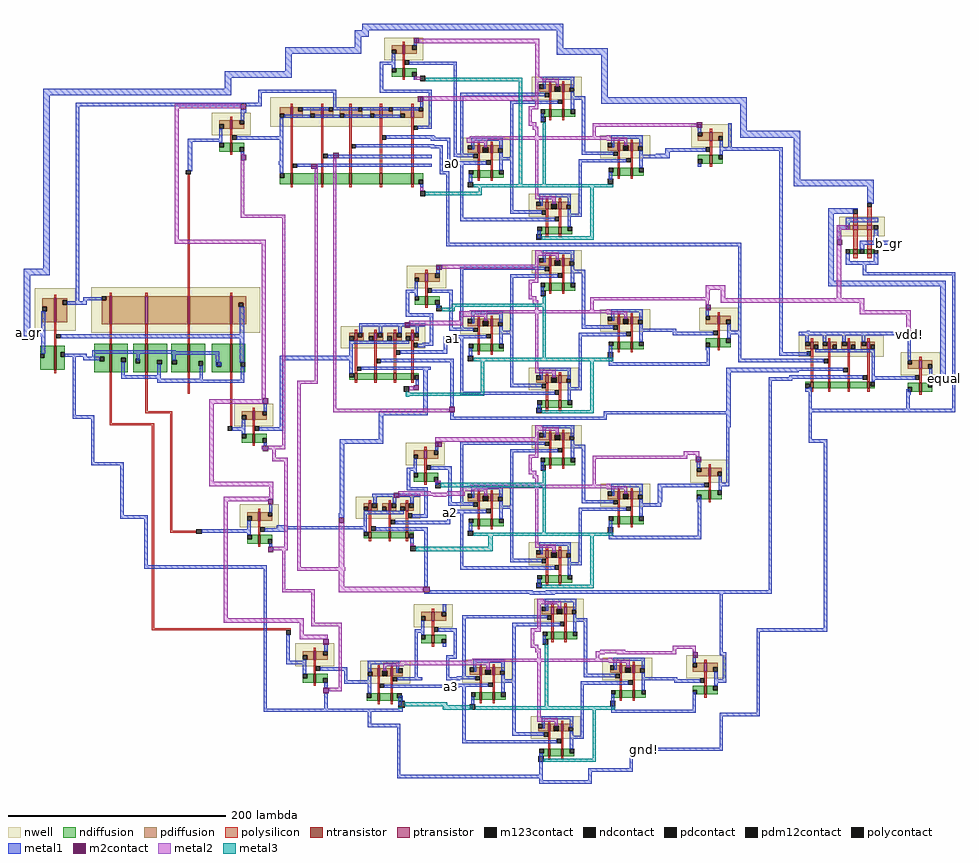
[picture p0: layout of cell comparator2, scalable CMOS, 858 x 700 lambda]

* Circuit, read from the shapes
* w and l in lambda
.subckt comparator2 a0 a1 a2 a3 a_gr b0 b1 b2 b3 b_gr equal gnd! vdd!
M1 gnd! n1 a_gr VSUBS nfet w=22 l=2
M2 n1 4_or_0/in4 gnd! VSUBS nfet w=26 l=2
M3 n1 4_or_0/in3 gnd! VSUBS nfet w=26 l=2
M4 n1 4_or_0/in2 gnd! VSUBS nfet w=26 l=2
M5 n1 4_or_0/in1 gnd! VSUBS nfet w=26 l=2
M6 gnd! not_9/in 4_or_0/in2 VSUBS nfet w=8 l=2
M7 gnd! not_10/in 4_or_0/in1 VSUBS nfet w=8 l=2
M8 gnd! not_11/in 4_or_0/in3 VSUBS nfet w=8 l=2
M9 n2 3nand_0/in3 not_9/in VSUBS nfet w=10 l=2
M10 gnd! not_12/in 4_or_0/in4 VSUBS nfet w=8 l=2
M11 n3 4nand_0/in3 n2 VSUBS nfet w=10 l=2
M12 n4 4nand_1/in2 n3 VSUBS nfet w=10 l=2
M13 n5 3nand_0/in3 not_10/in VSUBS nfet w=6 l=2
M14 n6 3nand_0/in3 not_11/in VSUBS nfet w=6 l=2
M15 n7 4nand_0/in3 n5 VSUBS nfet w=6 l=2
M16 n8 a3 not_12/in VSUBS nfet w=7 l=2
M17 n9 a0 n4 VSUBS nfet w=10 l=2
M18 n10 a2 n6 VSUBS nfet w=6 l=2
M19 gnd! 2nand_0/in1 n8 VSUBS nfet w=7 l=2
M20 n11 a1 n7 VSUBS nfet w=6 l=2
M21 gnd! b0 5nand_0/in1 VSUBS nfet w=8 l=2
M22 gnd! 3nand_0/in1 n10 VSUBS nfet w=6 l=2
M23 gnd! 4nand_0/in1 n11 VSUBS nfet w=6 l=2
M24 gnd! 5nand_0/in1 n9 VSUBS nfet w=10 l=2
M25 gnd! b2 3nand_0/in1 VSUBS nfet w=8 l=2
M26 gnd! b1 4nand_0/in1 VSUBS nfet w=8 l=2
M27 gnd! b3 2nand_0/in1 VSUBS nfet w=8 l=2
M28 n12 b2 gnd! VSUBS nfet w=7 l=2
M29 n13 b1 gnd! VSUBS nfet w=7 l=2
M30 n14 b0 gnd! VSUBS nfet w=7 l=2
M31 n15 b3 gnd! VSUBS nfet w=7 l=2
M32 xor_2/2nand_2/in1 a2 n12 VSUBS nfet w=7 l=2
M33 xor_1/2nand_2/in1 a1 n13 VSUBS nfet w=7 l=2
M34 xor_0/2nand_2/in1 a0 n14 VSUBS nfet w=7 l=2
M35 xor_3/2nand_2/in1 a3 n15 VSUBS nfet w=7 l=2
M36 n16 xor_2/2nand_2/in1 gnd! VSUBS nfet w=7 l=2
M37 n17 xor_1/2nand_2/in1 gnd! VSUBS nfet w=7 l=2
M38 n18 xor_0/2nand_2/in1 gnd! VSUBS nfet w=7 l=2
M39 n19 xor_3/2nand_2/in1 gnd! VSUBS nfet w=7 l=2
M40 n20 b2 gnd! VSUBS nfet w=7 l=2
M41 n21 b1 gnd! VSUBS nfet w=7 l=2
M42 n22 b0 gnd! VSUBS nfet w=7 l=2
M43 n23 b3 gnd! VSUBS nfet w=7 l=2
M44 xor_2/2nand_3/in2 a2 n16 VSUBS nfet w=7 l=2
M45 xor_1/2nand_3/in2 a1 n17 VSUBS nfet w=7 l=2
M46 xor_0/2nand_3/in2 a0 n18 VSUBS nfet w=7 l=2
M47 xor_3/2nand_3/in2 a3 n19 VSUBS nfet w=7 l=2
M48 xor_2/2nand_3/in1 xor_2/2nand_2/in1 n20 VSUBS nfet w=7 l=2
M49 xor_1/2nand_3/in1 xor_1/2nand_2/in1 n21 VSUBS nfet w=7 l=2
M50 xor_0/2nand_3/in1 xor_0/2nand_2/in1 n22 VSUBS nfet w=7 l=2
M51 xor_3/2nand_3/in1 xor_3/2nand_2/in1 n23 VSUBS nfet w=7 l=2
M52 n24 xor_2/2nand_3/in1 gnd! VSUBS nfet w=7 l=2
M53 n25 xor_1/2nand_3/in1 gnd! VSUBS nfet w=7 l=2
M54 n26 xor_0/2nand_3/in1 gnd! VSUBS nfet w=7 l=2
M55 n27 xor_3/2nand_3/in1 gnd! VSUBS nfet w=7 l=2
M56 not_2/in xor_2/2nand_3/in2 n24 VSUBS nfet w=7 l=2
M57 not_1/in xor_1/2nand_3/in2 n25 VSUBS nfet w=7 l=2
M58 not_0/in xor_0/2nand_3/in2 n26 VSUBS nfet w=7 l=2
M59 not_3/in xor_3/2nand_3/in2 n27 VSUBS nfet w=7 l=2
M60 3nand_0/in3 not_3/in gnd! VSUBS nfet w=8 l=2
M61 4nand_0/in3 not_2/in gnd! VSUBS nfet w=8 l=2
M62 4nand_1/in1 not_0/in gnd! VSUBS nfet w=8 l=2
M63 4nand_1/in2 not_1/in gnd! VSUBS nfet w=8 l=2
M64 n28 4nand_1/in1 gnd! VSUBS nfet w=6 l=2
M65 n29 4nand_1/in2 n28 VSUBS nfet w=6 l=2
M66 n30 4nand_0/in3 n29 VSUBS nfet w=6 l=2
M67 b_gr equal gnd! VSUBS nfet w=4 l=4
M68 not_6/in 3nand_0/in3 n30 VSUBS nfet w=6 l=2
M69 gnd! a_gr b_gr VSUBS nfet w=4 l=4
M70 equal not_6/in gnd! VSUBS nfet w=8 l=2
M71 vdd! n1 a_gr n31 pfet w=22 l=2
M72 n32 4_or_0/in4 vdd! n33 pfet w=26 l=2
M73 n34 4_or_0/in3 n32 n33 pfet w=26 l=2
M74 n35 4_or_0/in2 n34 n33 pfet w=26 l=2
M75 n1 4_or_0/in1 n35 n33 pfet w=26 l=2
M76 vdd! not_9/in 4_or_0/in2 n36 pfet w=8 l=2
M77 vdd! not_10/in 4_or_0/in1 n37 pfet w=8 l=2
M78 vdd! not_11/in 4_or_0/in3 n38 pfet w=8 l=2
M79 vdd! 3nand_0/in3 not_9/in n39 pfet w=10 l=2
M80 vdd! not_12/in 4_or_0/in4 n40 pfet w=8 l=2
M81 vdd! 4nand_0/in3 not_9/in n39 pfet w=10 l=2
M82 vdd! 4nand_1/in2 not_9/in n39 pfet w=10 l=2
M83 vdd! 3nand_0/in3 not_10/in n41 pfet w=7 l=2
M84 vdd! 3nand_0/in3 not_11/in n42 pfet w=7 l=2
M85 vdd! 4nand_0/in3 not_10/in n41 pfet w=7 l=2
M86 vdd! a3 not_12/in n43 pfet w=7 l=2
M87 vdd! a0 not_9/in n39 pfet w=10 l=2
M88 vdd! a2 not_11/in n42 pfet w=7 l=2
M89 not_12/in 2nand_0/in1 vdd! n43 pfet w=7 l=2
M90 vdd! a1 not_10/in n41 pfet w=7 l=2
M91 vdd! b0 5nand_0/in1 n44 pfet w=8 l=2
M92 vdd! 3nand_0/in1 not_11/in n42 pfet w=7 l=2
M93 vdd! 4nand_0/in1 not_10/in n41 pfet w=7 l=2
M94 vdd! 5nand_0/in1 not_9/in n39 pfet w=10 l=2
M95 vdd! b2 3nand_0/in1 n45 pfet w=8 l=2
M96 vdd! b1 4nand_0/in1 n46 pfet w=8 l=2
M97 vdd! b3 2nand_0/in1 n47 pfet w=8 l=2
M98 vdd! b2 xor_2/2nand_2/in1 n48 pfet w=7 l=2
M99 vdd! b1 xor_1/2nand_2/in1 n49 pfet w=7 l=2
M100 vdd! b0 xor_0/2nand_2/in1 n50 pfet w=7 l=2
M101 vdd! b3 xor_3/2nand_2/in1 n51 pfet w=7 l=2
M102 xor_2/2nand_2/in1 a2 vdd! n48 pfet w=7 l=2
M103 xor_1/2nand_2/in1 a1 vdd! n49 pfet w=7 l=2
M104 xor_0/2nand_2/in1 a0 vdd! n50 pfet w=7 l=2
M105 xor_3/2nand_2/in1 a3 vdd! n51 pfet w=7 l=2
M106 vdd! xor_2/2nand_2/in1 xor_2/2nand_3/in2 n52 pfet w=7 l=2
M107 vdd! xor_1/2nand_2/in1 xor_1/2nand_3/in2 n53 pfet w=7 l=2
M108 vdd! xor_0/2nand_2/in1 xor_0/2nand_3/in2 n54 pfet w=7 l=2
M109 vdd! xor_3/2nand_2/in1 xor_3/2nand_3/in2 n55 pfet w=7 l=2
M110 vdd! b2 xor_2/2nand_3/in1 n56 pfet w=7 l=2
M111 vdd! b1 xor_1/2nand_3/in1 n57 pfet w=7 l=2
M112 vdd! b0 xor_0/2nand_3/in1 n58 pfet w=7 l=2
M113 vdd! b3 xor_3/2nand_3/in1 n59 pfet w=7 l=2
M114 xor_2/2nand_3/in2 a2 vdd! n52 pfet w=7 l=2
M115 xor_1/2nand_3/in2 a1 vdd! n53 pfet w=7 l=2
M116 xor_0/2nand_3/in2 a0 vdd! n54 pfet w=7 l=2
M117 xor_3/2nand_3/in2 a3 vdd! n55 pfet w=7 l=2
M118 xor_2/2nand_3/in1 xor_2/2nand_2/in1 vdd! n56 pfet w=7 l=2
M119 xor_1/2nand_3/in1 xor_1/2nand_2/in1 vdd! n57 pfet w=7 l=2
M120 xor_0/2nand_3/in1 xor_0/2nand_2/in1 vdd! n58 pfet w=7 l=2
M121 xor_3/2nand_3/in1 xor_3/2nand_2/in1 vdd! n59 pfet w=7 l=2
M122 vdd! xor_2/2nand_3/in1 not_2/in n60 pfet w=7 l=2
M123 vdd! xor_1/2nand_3/in1 not_1/in n61 pfet w=7 l=2
M124 vdd! xor_0/2nand_3/in1 not_0/in n62 pfet w=7 l=2
M125 vdd! xor_3/2nand_3/in1 not_3/in n63 pfet w=7 l=2
M126 not_2/in xor_2/2nand_3/in2 vdd! n60 pfet w=7 l=2
M127 not_1/in xor_1/2nand_3/in2 vdd! n61 pfet w=7 l=2
M128 not_0/in xor_0/2nand_3/in2 vdd! n62 pfet w=7 l=2
M129 not_3/in xor_3/2nand_3/in2 vdd! n63 pfet w=7 l=2
M130 3nand_0/in3 not_3/in vdd! n64 pfet w=8 l=2
M131 4nand_0/in3 not_2/in vdd! n65 pfet w=8 l=2
M132 4nand_1/in1 not_0/in vdd! n66 pfet w=8 l=2
M133 4nand_1/in2 not_1/in vdd! n67 pfet w=8 l=2
M134 not_6/in 4nand_1/in1 vdd! n68 pfet w=7 l=2
M135 not_6/in 4nand_1/in2 vdd! n68 pfet w=7 l=2
M136 not_6/in 4nand_0/in3 vdd! n68 pfet w=7 l=2
M137 n69 equal vdd! n70 pfet w=4 l=4
M138 not_6/in 3nand_0/in3 vdd! n68 pfet w=7 l=2
M139 b_gr a_gr n69 n70 pfet w=4 l=4
M140 equal not_6/in vdd! n71 pfet w=8 l=2
.ends

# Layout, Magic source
magic
tech scmos
<< nwell >>
rect 120 -314 123 -293
<< polysilicon >>
rect -370 35 -368 150
rect 243 112 247 114
rect 256 112 260 120
rect -442 -79 -440 -34
rect -409 -68 -407 -32
rect -370 -52 -368 -35
rect -409 -70 -384 -68
rect -442 -81 -401 -79
rect -403 -268 -401 -81
rect -386 -178 -384 -70
rect -331 -82 -329 -34
rect -386 -180 -362 -178
rect -403 -270 -275 -268
<< polycontact >>
rect -372 150 -367 154
rect 256 120 260 124
rect 243 114 247 118
rect -333 -86 -329 -82
rect -362 -181 -357 -177
rect -279 -274 -275 -270
<< metal1 >>
rect -209 283 -24 289
rect -216 277 -203 283
rect -216 267 -210 277
rect -280 261 -210 267
rect -30 266 -24 283
rect -280 245 -274 261
rect -30 260 17 266
rect -336 239 -274 245
rect -193 251 -180 254
rect -153 251 -122 254
rect -336 229 -330 239
rect -503 223 -330 229
rect -193 228 -190 251
rect -305 225 -233 228
rect -193 225 -145 228
rect -503 63 -497 223
rect -305 216 -302 225
rect -521 57 -497 63
rect -473 215 -302 216
rect -473 213 -321 215
rect -521 7 -515 57
rect -473 30 -470 213
rect -316 213 -302 215
rect -236 211 -233 225
rect -321 207 -316 210
rect -148 192 -145 225
rect -146 185 -143 186
rect -370 180 -338 183
rect -312 182 -284 185
rect -146 184 -142 185
rect -146 181 -128 184
rect -370 154 -366 180
rect -145 177 -143 178
rect -146 174 -135 177
rect -286 159 -282 162
rect -367 153 -366 154
rect -138 153 -135 174
rect -131 162 -128 181
rect -125 166 -122 251
rect 11 221 17 260
rect 11 215 145 221
rect 128 175 131 197
rect 139 190 145 215
rect 139 184 194 190
rect 70 171 96 174
rect 120 172 178 175
rect 70 169 74 171
rect 61 165 74 169
rect -131 159 -119 162
rect -138 150 -129 153
rect -132 87 -129 150
rect -132 84 140 87
rect -169 41 -158 44
rect -135 41 -126 44
rect -169 22 -166 41
rect -169 19 -144 22
rect -521 1 -504 7
rect -147 -5 -144 19
rect -129 9 -126 41
rect -129 6 -119 9
rect 66 5 80 8
rect 137 6 140 84
rect 77 2 104 5
rect 127 3 140 6
rect -125 1 -122 2
rect -154 -8 -144 -5
rect -134 -2 -122 1
rect -134 -12 -131 -2
rect -458 -13 -381 -12
rect -458 -15 -341 -13
rect -154 -15 -131 -12
rect -476 -72 -473 -15
rect -458 -21 -455 -15
rect -417 -21 -414 -15
rect -384 -16 -341 -15
rect -384 -21 -381 -16
rect -344 -23 -341 -16
rect -285 -21 -218 -17
rect -344 -26 -339 -23
rect -476 -75 -456 -72
rect -459 -115 -456 -75
rect -285 -83 -282 -21
rect -161 -23 -125 -20
rect -154 -30 -146 -27
rect -160 -44 -157 -42
rect -153 -68 -149 -30
rect -128 -64 -125 -23
rect 18 -23 21 -10
rect 108 -23 111 -9
rect 137 -20 140 3
rect 175 -14 178 172
rect 188 145 194 184
rect 188 139 262 145
rect 256 124 262 139
rect 260 123 262 124
rect 220 118 247 119
rect 220 114 243 118
rect 220 52 225 114
rect 228 99 238 103
rect 228 90 232 99
rect 266 85 278 89
rect 252 60 255 70
rect 252 57 337 60
rect 220 47 328 52
rect 200 2 203 6
rect 254 2 292 5
rect 293 -14 296 1
rect 175 -17 202 -14
rect 137 -23 195 -20
rect 18 -26 111 -23
rect 126 -32 193 -28
rect -329 -86 -319 -83
rect -292 -86 -282 -83
rect -194 -72 -149 -68
rect 126 -68 130 -32
rect 323 -35 328 47
rect 184 -37 199 -35
rect -194 -94 -190 -72
rect -128 -73 -125 -69
rect 13 -71 130 -68
rect 13 -73 16 -71
rect -128 -76 16 -73
rect -230 -98 -190 -94
rect 126 -83 130 -71
rect 165 -38 199 -37
rect 165 -40 187 -38
rect 262 -39 289 -36
rect 315 -40 329 -35
rect -459 -118 -429 -115
rect -432 -164 -429 -118
rect -230 -162 -226 -98
rect -168 -123 -159 -120
rect -136 -122 -127 -119
rect -168 -138 -165 -123
rect -168 -141 -149 -138
rect -432 -167 -407 -164
rect -410 -210 -407 -167
rect -231 -166 -226 -162
rect -152 -163 -149 -141
rect -130 -152 -127 -122
rect 126 -134 129 -83
rect 63 -138 95 -135
rect 119 -137 129 -134
rect 63 -152 67 -138
rect -130 -155 -119 -152
rect 63 -156 66 -152
rect -159 -166 -149 -163
rect -131 -162 -120 -159
rect -131 -169 -128 -162
rect -158 -172 -128 -169
rect -288 -174 -278 -173
rect -288 -177 -205 -174
rect -357 -180 -315 -177
rect -288 -179 -278 -177
rect -158 -178 -149 -175
rect -165 -192 -162 -188
rect -410 -213 -297 -210
rect -300 -342 -297 -213
rect -152 -230 -149 -178
rect 18 -183 21 -171
rect 100 -183 103 -147
rect 18 -186 103 -183
rect 165 -233 168 -40
rect 202 -66 205 -46
rect 292 -66 295 -48
rect 334 -66 337 57
rect 202 -69 337 -66
rect 202 -94 205 -69
rect 202 -97 219 -94
rect -147 -234 -52 -233
rect -40 -234 168 -233
rect -147 -235 168 -234
rect -152 -236 168 -235
rect -55 -237 -32 -236
rect -161 -272 -153 -269
rect -129 -271 -122 -268
rect -279 -298 -276 -274
rect -279 -301 -261 -298
rect -235 -307 -223 -304
rect -226 -316 -223 -307
rect -161 -313 -158 -272
rect -125 -293 -122 -271
rect 120 -290 123 -236
rect 216 -268 219 -97
rect 154 -271 219 -268
rect -132 -296 -122 -293
rect 120 -293 126 -290
rect -132 -313 -129 -296
rect -122 -313 -120 -312
rect -168 -316 -154 -313
rect -132 -316 -119 -313
rect 67 -315 81 -313
rect 123 -315 126 -293
rect 67 -316 91 -315
rect -226 -319 -214 -316
rect 78 -318 91 -316
rect 115 -318 126 -315
rect -123 -320 -121 -319
rect -244 -323 -241 -321
rect -170 -323 -120 -320
rect -244 -342 -241 -328
rect -175 -335 -172 -330
rect -176 -342 -172 -341
rect -300 -345 -172 -342
rect 20 -343 23 -331
rect 95 -343 98 -327
rect -204 -356 -201 -345
rect 20 -346 98 -343
rect 154 -346 157 -271
rect 120 -349 157 -346
rect -204 -359 -174 -356
rect -177 -403 -174 -359
rect 120 -378 123 -349
rect 37 -381 123 -378
rect -46 -403 -43 -386
rect 37 -397 40 -381
rect -177 -406 -43 -403
rect -46 -408 -43 -406
rect -1 -400 40 -397
rect -1 -408 2 -400
rect -46 -411 2 -408
<< m2contact >>
rect -162 271 -157 276
rect -321 210 -316 215
rect -158 217 -153 222
rect -321 163 -316 168
rect -236 165 -231 170
rect -256 155 -251 160
rect 99 193 104 198
rect -141 62 -136 67
rect -170 9 -165 14
rect 107 25 112 30
rect -301 -61 -296 -56
rect -162 -49 -157 -44
rect 228 85 233 90
rect 292 1 297 6
rect -129 -69 -124 -64
rect -301 -105 -296 -100
rect -296 -154 -291 -149
rect -142 -101 -136 -96
rect 98 -115 103 -110
rect -180 -148 -175 -143
rect -231 -171 -226 -166
rect -296 -198 -291 -193
rect -153 -235 -147 -230
rect -245 -283 -240 -278
rect 95 -295 100 -290
rect -245 -328 -240 -323
<< metal2 >>
rect -157 271 -46 275
rect -161 237 -156 240
rect -50 239 -46 271
rect -153 218 -49 222
rect -382 211 -321 215
rect -382 90 -378 211
rect 3 194 99 197
rect 3 182 6 194
rect -321 168 -318 169
rect -321 113 -318 163
rect -251 155 -250 160
rect -321 110 -280 113
rect -382 86 -298 90
rect -302 -56 -298 86
rect -302 -57 -301 -56
rect -350 -61 -301 -57
rect -350 -133 -346 -61
rect -283 -100 -280 110
rect -253 -40 -250 155
rect -302 -103 -301 -100
rect -296 -103 -280 -100
rect -269 -43 -250 -40
rect -292 -111 -289 -103
rect -292 -114 -278 -111
rect -350 -137 -291 -133
rect -295 -147 -291 -137
rect -337 -149 -291 -147
rect -337 -151 -296 -149
rect -337 -259 -333 -151
rect -281 -193 -278 -114
rect -291 -196 -278 -193
rect -283 -232 -280 -196
rect -269 -212 -266 -43
rect -236 -66 -233 165
rect -156 135 -153 138
rect 228 99 240 103
rect 228 90 232 99
rect -136 63 -49 67
rect 107 44 125 48
rect 107 37 111 44
rect 1 34 111 37
rect 121 36 125 44
rect 228 36 232 85
rect -120 20 -105 24
rect 1 22 4 34
rect 107 30 110 34
rect 121 32 253 36
rect 249 25 253 32
rect 249 21 296 25
rect -120 19 -112 20
rect -120 15 -116 19
rect -166 14 -116 15
rect -165 11 -116 14
rect 292 6 296 21
rect -166 -49 -162 -45
rect -236 -69 -129 -66
rect -142 -96 -49 -92
rect 87 -108 101 -105
rect 87 -109 90 -108
rect 3 -112 90 -109
rect 98 -110 101 -108
rect -142 -134 -137 -132
rect -116 -138 -110 -137
rect -119 -142 -110 -138
rect 3 -139 6 -112
rect -176 -143 -146 -142
rect -131 -143 -115 -142
rect -175 -146 -115 -143
rect -144 -147 -132 -146
rect -231 -212 -226 -171
rect -165 -192 -162 -190
rect -269 -215 -225 -212
rect -231 -230 -226 -215
rect -283 -235 -253 -232
rect -231 -235 -153 -230
rect -337 -263 -263 -259
rect -267 -274 -263 -263
rect -256 -263 -253 -235
rect -256 -266 -228 -263
rect -267 -278 -241 -274
rect -231 -323 -228 -266
rect 77 -287 98 -284
rect 10 -289 33 -288
rect 77 -289 80 -287
rect 6 -291 80 -289
rect 6 -292 14 -291
rect 25 -292 80 -291
rect 95 -290 98 -287
rect -171 -302 -110 -298
rect 6 -299 9 -292
rect -240 -326 -228 -323
rect -176 -342 -173 -341
<< m123contact >>
rect -156 236 -151 241
rect -156 130 -151 135
rect -141 24 -136 29
rect -171 -50 -166 -45
rect -142 -139 -137 -134
rect -165 -197 -160 -192
rect -176 -341 -170 -335
<< metal3 >>
rect -151 236 -62 239
rect -102 134 -99 141
rect -65 138 -62 236
rect -151 131 -99 134
rect -127 28 -40 31
rect -127 27 -124 28
rect -136 24 -124 27
rect -169 -51 -166 -50
rect -100 -51 -97 -19
rect -169 -54 -97 -51
rect -169 -55 -166 -54
rect -137 -138 -40 -134
rect -93 -193 -89 -180
rect -160 -197 -89 -193
rect -170 -339 -131 -336
rect -170 -340 -108 -339
rect -176 -342 -173 -341
rect -135 -343 -108 -340
use not  not_12
transform -1 0 -249 0 1 -305
box -14 -16 22 23
use not  not_8
transform -1 0 -140 0 1 -269
box -14 -16 22 23
use 2nand  2nand_0
transform -1 0 -204 0 1 -336
box -39 -3 10 38
use xor  xor_3
transform 1 0 -52 0 1 -286
box -69 -105 120 45
use not  not_3
transform 1 0 103 0 1 -316
box -14 -16 22 23
use not  not_7
transform -1 0 -147 0 1 -120
box -14 -16 22 23
use 3nand  3nand_0
transform -1 0 -181 0 1 -173
box -25 -15 34 29
use xor  xor_2
transform 1 0 -54 0 1 -126
box -69 -105 120 45
use not  not_2
transform 1 0 107 0 1 -136
box -14 -16 22 23
use not  not_5
transform -1 0 -146 0 1 43
box -14 -16 22 23
use 4nand  4nand_0
transform -1 0 -149 0 1 42
box 2 -84 80 -29
use xor  xor_1
transform 1 0 -54 0 1 35
box -69 -105 120 45
use not  not_1
transform 1 0 115 0 1 4
box -14 -16 22 23
use 5nand  5nand_0
transform -1 0 -193 0 1 184
box -48 -46 101 37
use xor  xor_0
transform 1 0 -54 0 1 195
box -69 -105 120 45
use not  not_0
transform 1 0 108 0 1 173
box -14 -16 22 23
use not  not_4
transform -1 0 -167 0 1 253
box -14 -16 22 23
use nand2  nand2_0
transform 1 0 248 0 1 92
box -18 -25 24 20
use not  not_11
transform -1 0 -300 0 1 -177
box -14 -16 22 23
use not  not_10
transform -1 0 -305 0 1 -84
box -14 -16 22 23
use not  not_9
transform -1 0 -326 0 1 184
box -14 -16 22 23
use not  not_6
transform 1 0 301 0 1 -37
box -14 -16 22 23
use 4nand  4nand_1
transform 1 0 191 0 1 34
box 2 -84 80 -29
use 4_or  4_or_0
transform -1 0 -377 0 1 -1
box -74 -41 134 47
<< labels >>
rlabel metal1 -517 4 -516 4 3 a_gr
rlabel metal1 327 -38 328 -38 7 equal
rlabel metal1 -127 -322 -127 -322 1 a3
rlabel metal1 -126 -315 -126 -315 1 b3
rlabel metal1 -128 -161 -128 -161 1 a2
rlabel metal1 -125 -1 -125 -1 1 a1
rlabel metal1 -127 7 -127 7 1 b1
rlabel metal1 -126 160 -126 160 1 a0
rlabel metal1 -123 168 -123 168 1 b0
rlabel metal1 51 -380 51 -380 1 gnd!
rlabel m2contact 295 3 295 3 1 vdd!
rlabel metal1 276 86 276 86 1 b_gr
rlabel metal1 -127 -154 -127 -154 1 b2
<< end >>

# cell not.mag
magic
tech scmos
<< nwell >>
rect -14 2 22 23
<< ntransistor >>
rect 3 -13 5 -5
<< ptransistor >>
rect 3 8 5 16
<< ndiffusion >>
rect -8 -9 3 -5
rect -4 -13 3 -9
rect 5 -9 11 -5
rect 5 -13 15 -9
<< pdiffusion >>
rect -4 12 3 16
rect -8 8 3 12
rect 5 12 15 16
rect 5 8 11 12
<< ndcontact >>
rect -8 -13 -4 -9
rect 11 -9 15 -5
<< pdcontact >>
rect -8 12 -4 16
rect 11 8 15 12
<< polysilicon >>
rect 3 16 5 19
rect 3 -5 5 8
rect 3 -16 5 -13
<< polycontact >>
rect -1 -2 3 2
<< metal1 >>
rect -8 16 -5 23
rect -14 -2 -1 1
rect 12 -5 15 8
rect -8 -16 -5 -13
<< labels >>
rlabel metal1 -13 -1 -13 -1 3 in
rlabel metal1 14 0 14 0 1 out
rlabel metal1 -6 21 -6 21 5 vdd!
rlabel metal1 -7 -15 -7 -15 1 gnd!
<< end >>

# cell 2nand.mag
magic
tech scmos
<< nwell >>
rect -39 17 7 38
<< ntransistor >>
rect -23 1 -21 8
rect -11 1 -9 8
<< ptransistor >>
rect -23 24 -21 31
rect -11 24 -9 31
<< ndiffusion >>
rect -27 4 -23 8
rect -31 1 -23 4
rect -21 1 -11 8
rect -9 4 -3 8
rect -9 1 1 4
<< pdiffusion >>
rect -28 27 -23 31
rect -32 24 -23 27
rect -21 29 -11 31
rect -21 24 -18 29
rect -13 24 -11 29
rect -9 28 0 31
rect -9 24 -4 28
<< ndcontact >>
rect -31 4 -27 8
rect -3 4 1 8
<< pdcontact >>
rect -32 27 -28 31
rect -18 24 -13 29
rect -4 24 0 28
<< polysilicon >>
rect -23 31 -21 34
rect -11 31 -9 34
rect -23 8 -21 24
rect -11 8 -9 24
rect -23 -2 -21 1
rect -11 -2 -9 1
<< polycontact >>
rect -27 19 -23 23
rect -15 13 -11 17
<< metal1 >>
rect -29 35 0 38
rect -29 31 -26 35
rect -28 27 -26 31
rect -17 29 -14 31
rect -3 28 0 35
rect -39 20 -27 23
rect -3 20 0 24
rect -3 17 10 20
rect -39 13 -15 16
rect -3 8 0 17
rect -31 -3 -28 4
<< pdm12contact >>
rect -18 24 -13 29
<< metal2 >>
rect -33 36 -30 38
rect -33 33 -14 36
rect -17 29 -14 33
<< labels >>
rlabel metal1 9 18 9 18 7 out
rlabel ndcontact -29 6 -29 6 1 gnd!
rlabel metal2 -32 36 -32 36 5 vdd!
rlabel metal1 -38 21 -38 21 3 in1
rlabel metal1 -37 14 -37 14 3 in2
<< end >>

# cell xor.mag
magic
tech scmos
<< metal1 >>
rect -65 27 1 30
rect -65 -26 -62 27
rect -19 20 4 23
rect -69 -29 -65 -26
rect -19 -29 -16 20
rect 47 -24 50 24
rect 47 -27 67 -24
rect -18 -32 -16 -29
rect 113 -30 120 -27
rect -69 -36 -62 -33
rect -65 -85 -62 -36
rect -19 -78 -16 -32
rect 44 -32 64 -31
rect 44 -34 74 -32
rect -19 -81 1 -78
rect 44 -81 47 -34
rect -65 -88 -2 -85
<< metal2 >>
rect 4 18 7 45
rect -2 15 7 18
rect -2 3 1 15
rect -2 0 5 3
rect 2 -1 5 0
rect 2 -4 7 -1
rect 4 -10 7 -4
rect -56 -13 73 -10
rect 4 -63 7 -13
<< m123contact >>
rect 9 3 14 8
rect -58 -57 -53 -52
rect 71 -54 76 -49
rect 5 -105 10 -100
<< metal3 >>
rect 11 -54 14 3
rect -53 -57 76 -54
rect 55 -102 58 -57
rect 10 -105 58 -102
use 2nand  2nand_3
transform 1 0 103 0 1 -47
box -39 -3 10 38
use 2nand  2nand_2
transform 1 0 37 0 1 -101
box -39 -3 10 38
use 2nand  2nand_1
transform 1 0 -26 0 1 -49
box -39 -3 10 38
use 2nand  2nand_0
transform 1 0 40 0 1 7
box -39 -3 10 38
<< labels >>
rlabel metal1 118 -29 118 -29 7 out1
rlabel metal1 -68 -35 -68 -35 3 in_1
rlabel metal1 -67 -28 -67 -28 3 in_2
<< end >>

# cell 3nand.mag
magic
tech scmos
<< nwell >>
rect -25 6 34 26
<< ntransistor >>
rect -14 -12 -12 -6
rect 2 -12 4 -6
rect 20 -12 22 -6
<< ptransistor >>
rect -14 13 -12 20
rect 2 13 4 20
rect 20 13 22 20
<< ndiffusion >>
rect -19 -8 -14 -6
rect -15 -12 -14 -8
rect -12 -12 2 -6
rect 4 -12 20 -6
rect 22 -10 23 -6
rect 22 -12 27 -10
<< pdiffusion >>
rect -15 16 -14 20
rect -19 13 -14 16
rect -12 17 -7 20
rect -12 13 -11 17
rect 1 16 2 20
rect -3 13 2 16
rect 4 17 10 20
rect 4 13 6 17
rect 14 16 15 20
rect 19 16 20 20
rect 14 13 20 16
rect 22 17 27 20
rect 22 13 23 17
<< ndcontact >>
rect -19 -12 -15 -8
rect 23 -10 27 -6
<< pdcontact >>
rect -19 16 -15 20
rect -11 13 -7 17
rect -3 16 1 20
rect 6 13 10 17
rect 15 16 19 20
rect 23 13 27 17
<< polysilicon >>
rect -14 20 -12 23
rect 2 20 4 23
rect 20 20 22 23
rect -14 -6 -12 13
rect 2 -6 4 13
rect 20 -6 22 13
rect -14 -15 -12 -12
rect 2 -15 4 -12
rect 20 -15 22 -12
<< polycontact >>
rect -18 7 -14 11
rect -2 1 2 5
rect 16 -5 20 -1
<< metal1 >>
rect -25 26 19 29
rect -19 20 -16 26
rect -3 20 0 26
rect 15 20 18 26
rect -25 7 -18 10
rect -10 10 27 13
rect -25 1 -2 4
rect -25 -5 16 -2
rect 24 -6 27 10
rect -19 -15 -16 -12
<< labels >>
rlabel metal1 -24 27 -24 27 4 vdd!
rlabel metal1 -17 -14 -17 -14 1 gnd!
rlabel metal1 25 2 25 2 1 out
rlabel metal1 -24 8 -24 8 3 in1
rlabel metal1 -24 2 -24 2 3 in2
rlabel metal1 -23 -4 -23 -4 3 in3
<< end >>

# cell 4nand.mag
magic
tech scmos
<< nwell >>
rect 2 -52 80 -32
<< ntransistor >>
rect 13 -81 15 -75
rect 29 -81 31 -75
rect 47 -81 49 -75
rect 65 -81 67 -75
<< ptransistor >>
rect 13 -45 15 -38
rect 29 -45 31 -38
rect 47 -45 49 -38
rect 65 -45 67 -38
<< ndiffusion >>
rect 8 -77 13 -75
rect 12 -81 13 -77
rect 15 -81 29 -75
rect 31 -81 47 -75
rect 49 -81 65 -75
rect 67 -79 68 -75
rect 67 -81 72 -79
<< pdiffusion >>
rect 12 -42 13 -38
rect 8 -45 13 -42
rect 15 -41 20 -38
rect 15 -45 16 -41
rect 28 -42 29 -38
rect 24 -45 29 -42
rect 31 -41 37 -38
rect 31 -45 33 -41
rect 41 -42 42 -38
rect 46 -42 47 -38
rect 41 -45 47 -42
rect 49 -41 54 -38
rect 49 -45 50 -41
rect 59 -42 60 -38
rect 64 -42 65 -38
rect 59 -45 65 -42
rect 67 -41 72 -38
rect 67 -45 68 -41
<< ndcontact >>
rect 8 -81 12 -77
rect 68 -79 72 -75
<< pdcontact >>
rect 8 -42 12 -38
rect 16 -45 20 -41
rect 24 -42 28 -38
rect 33 -45 37 -41
rect 42 -42 46 -38
rect 50 -45 54 -41
rect 60 -42 64 -38
rect 68 -45 72 -41
<< polysilicon >>
rect 13 -38 15 -35
rect 29 -38 31 -35
rect 47 -38 49 -35
rect 65 -38 67 -35
rect 13 -75 15 -45
rect 29 -75 31 -45
rect 47 -75 49 -45
rect 65 -75 67 -45
rect 13 -84 15 -81
rect 29 -84 31 -81
rect 47 -84 49 -81
rect 65 -84 67 -81
<< polycontact >>
rect 9 -51 13 -47
rect 25 -58 29 -54
rect 43 -66 47 -62
rect 61 -73 65 -69
<< metal1 >>
rect 2 -32 63 -29
rect 8 -38 11 -32
rect 24 -38 27 -32
rect 42 -38 45 -32
rect 60 -38 63 -32
rect 2 -51 9 -48
rect 17 -48 72 -45
rect 2 -57 25 -54
rect 2 -65 43 -62
rect 2 -72 61 -69
rect 69 -75 72 -48
rect 8 -84 11 -81
<< labels >>
rlabel metal1 3 -31 3 -31 4 vdd!
rlabel metal1 3 -50 3 -50 3 in1
rlabel metal1 10 -83 10 -83 1 gnd!
rlabel metal1 71 -60 71 -60 1 out
rlabel metal1 4 -55 4 -55 3 in2
rlabel metal1 3 -63 3 -63 3 in3
rlabel metal1 3 -71 3 -71 3 in4
<< end >>

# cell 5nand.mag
magic
tech scmos
<< nwell >>
rect -48 10 101 37
<< ntransistor >>
rect -31 -43 -29 -33
rect -2 -43 0 -33
rect 26 -43 28 -33
rect 52 -43 54 -33
rect 80 -43 82 -33
<< ptransistor >>
rect -31 18 -29 28
rect -2 18 0 28
rect 26 18 28 28
rect 52 18 54 28
rect 80 18 82 28
<< ndiffusion >>
rect -40 -39 -31 -33
rect -36 -43 -31 -39
rect -29 -43 -2 -33
rect 0 -43 26 -33
rect 28 -43 52 -33
rect 54 -43 80 -33
rect 82 -37 88 -33
rect 82 -43 92 -37
<< pdiffusion >>
rect -36 24 -31 28
rect -40 18 -31 24
rect -29 22 -19 28
rect -29 18 -23 22
rect -8 24 -2 28
rect -12 18 -2 24
rect 0 22 9 28
rect 0 18 5 22
rect 20 24 26 28
rect 16 18 26 24
rect 28 22 37 28
rect 28 18 33 22
rect 47 24 52 28
rect 43 18 52 24
rect 54 22 64 28
rect 54 18 60 22
rect 75 24 80 28
rect 71 18 80 24
rect 82 22 92 28
rect 82 18 88 22
<< ndcontact >>
rect -40 -43 -36 -39
rect 88 -37 92 -33
<< pdcontact >>
rect -40 24 -36 28
rect -23 18 -19 22
rect -12 24 -8 28
rect 5 18 9 22
rect 16 24 20 28
rect 33 18 37 22
rect 43 24 47 28
rect 60 18 64 22
rect 71 24 75 28
rect 88 18 92 22
<< polysilicon >>
rect -31 28 -29 31
rect -2 28 0 31
rect 26 28 28 31
rect 52 28 54 31
rect 80 28 82 31
rect -31 -33 -29 18
rect -2 -33 0 18
rect 26 -33 28 18
rect 52 -33 54 18
rect 80 -33 82 18
rect -31 -46 -29 -43
rect -2 -46 0 -43
rect 26 -46 28 -43
rect 52 -46 54 -43
rect 80 -46 82 -43
<< polycontact >>
rect -35 7 -31 11
rect -6 -2 -2 2
rect 22 -10 26 -6
rect 48 -19 52 -15
rect 76 -28 80 -24
<< metal1 >>
rect -40 28 -37 37
rect -36 25 -12 28
rect -8 25 16 28
rect 20 25 43 28
rect 47 25 71 28
rect -19 18 5 21
rect 9 18 33 21
rect 37 18 60 21
rect 64 18 88 21
rect -48 8 -35 11
rect -48 -1 -6 2
rect -48 -9 22 -6
rect -48 -19 48 -16
rect -48 -27 76 -24
rect 89 -33 92 18
rect -40 -46 -37 -43
<< labels >>
rlabel metal1 -39 34 -39 34 5 vdd!
rlabel metal1 -39 -44 -39 -44 1 gnd!
rlabel metal1 91 -11 91 -11 1 out
rlabel metal1 -47 10 -47 10 3 in1
rlabel metal1 -46 0 -46 0 3 in2
rlabel metal1 -47 -8 -47 -8 3 in3
rlabel metal1 -47 -18 -47 -18 3 in4
rlabel metal1 -46 -26 -46 -26 3 in5
<< end >>

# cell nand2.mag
magic
tech scmos
<< nwell >>
rect -18 1 24 19
<< ntransistor >>
rect -5 -15 -1 -11
rect 8 -15 12 -11
<< ptransistor >>
rect -5 7 -1 11
rect 8 7 12 11
<< ndiffusion >>
rect -8 -15 -5 -11
rect -1 -15 1 -11
rect 5 -15 8 -11
rect 12 -15 14 -11
<< pdiffusion >>
rect -8 7 -5 11
rect -1 7 8 11
rect 12 7 14 11
<< ndcontact >>
rect -12 -15 -8 -11
rect 1 -15 5 -11
rect 14 -15 18 -11
<< pdcontact >>
rect -12 7 -8 11
rect 14 7 18 11
<< polysilicon >>
rect -5 11 -1 20
rect 8 11 12 20
rect -5 -11 -1 7
rect 8 -11 12 7
rect -5 -19 -1 -15
rect 8 -19 12 -15
<< metal1 >>
rect -12 14 18 18
rect -12 11 -8 14
rect 14 -3 18 7
rect 1 -7 18 -3
rect 1 -11 5 -7
rect -12 -22 -8 -15
rect 14 -22 18 -15
rect -12 -25 18 -22
<< labels >>
rlabel metal1 16 -3 16 -3 1 out
rlabel polysilicon -3 19 -3 19 5 in1
rlabel polysilicon 10 19 10 19 5 in2
rlabel metal1 -10 15 -10 15 5 vdd!
rlabel metal1 2 -23 2 -23 1 gnd!
<< end >>

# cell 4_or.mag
magic
tech scmos
<< nwell >>
rect -74 5 82 47
rect 96 7 134 46
<< ntransistor >>
rect -48 -31 -46 -5
rect -9 -31 -7 -5
rect 30 -31 32 -5
rect 63 -31 65 -5
rect 114 -29 116 -7
<< ptransistor >>
rect -48 13 -46 39
rect -9 13 -7 39
rect 30 13 32 39
rect 63 13 65 39
rect 114 15 116 37
<< ndiffusion >>
rect -60 -22 -48 -5
rect -56 -26 -48 -22
rect -60 -31 -48 -26
rect -46 -22 -29 -5
rect -46 -26 -38 -22
rect -34 -26 -29 -22
rect -46 -31 -29 -26
rect -23 -21 -9 -5
rect -23 -25 -21 -21
rect -17 -25 -9 -21
rect -23 -31 -9 -25
rect -7 -20 8 -5
rect -7 -24 3 -20
rect 7 -24 8 -20
rect -7 -31 8 -24
rect 12 -20 30 -5
rect 12 -24 17 -20
rect 21 -24 30 -20
rect 12 -31 30 -24
rect 32 -19 43 -5
rect 32 -23 37 -19
rect 41 -23 43 -19
rect 32 -31 43 -23
rect 48 -18 63 -5
rect 48 -22 50 -18
rect 54 -22 63 -18
rect 48 -31 63 -22
rect 65 -17 79 -5
rect 65 -21 70 -17
rect 74 -21 79 -17
rect 65 -31 79 -21
rect 106 -13 114 -7
rect 110 -17 114 -13
rect 106 -29 114 -17
rect 116 -14 129 -7
rect 116 -18 125 -14
rect 116 -29 129 -18
<< pdiffusion >>
rect -61 33 -48 39
rect -61 29 -58 33
rect -54 29 -48 33
rect -61 13 -48 29
rect -46 13 -9 39
rect -7 13 30 39
rect 32 13 63 39
rect 65 35 68 39
rect 65 13 72 35
rect 104 35 114 37
rect 108 31 114 35
rect 104 15 114 31
rect 116 29 127 37
rect 116 25 123 29
rect 116 15 127 25
<< ndcontact >>
rect -60 -26 -56 -22
rect -38 -26 -34 -22
rect -21 -25 -17 -21
rect 3 -24 7 -20
rect 17 -24 21 -20
rect 37 -23 41 -19
rect 50 -22 54 -18
rect 70 -21 74 -17
rect 106 -17 110 -13
rect 125 -18 129 -14
<< pdcontact >>
rect -58 29 -54 33
rect 68 35 72 39
rect 104 31 108 35
rect 123 25 127 29
<< polysilicon >>
rect -48 39 -46 42
rect -9 39 -7 42
rect 30 39 32 42
rect 63 39 65 42
rect 114 37 116 40
rect -48 -5 -46 13
rect -9 -5 -7 13
rect 30 -5 32 13
rect 63 -5 65 13
rect 114 -7 116 15
rect -48 -34 -46 -31
rect -9 -34 -7 -31
rect 30 -34 32 -31
rect 63 -34 65 -31
rect 114 -32 116 -29
<< polycontact >>
rect 110 0 114 4
<< metal1 >>
rect 72 35 89 38
rect 86 34 89 35
rect 86 31 104 34
rect -59 4 -55 29
rect -59 0 110 4
rect -59 -22 -55 0
rect 86 -17 106 -14
rect 124 -14 128 25
rect 74 -20 89 -17
rect -59 -38 -56 -26
rect -21 -37 -18 -25
rect 18 -34 21 -24
rect 51 -34 54 -22
rect 18 -37 54 -34
rect -21 -38 21 -37
rect -59 -41 21 -38
<< labels >>
rlabel metal1 126 2 126 2 1 out
rlabel metal1 89 32 89 32 1 vdd!
rlabel metal1 86 -19 86 -19 1 gnd!
rlabel ndcontact -36 -24 -36 -24 1 gnd!
rlabel ndcontact 5 -22 5 -22 1 gnd!
rlabel ndcontact 40 -21 40 -21 1 gnd!
rlabel polysilicon -47 40 -47 40 1 in1
rlabel polysilicon -8 41 -8 41 1 in2
rlabel polysilicon 31 41 31 41 1 in3
rlabel polysilicon 64 40 64 40 1 in4
<< end >>
